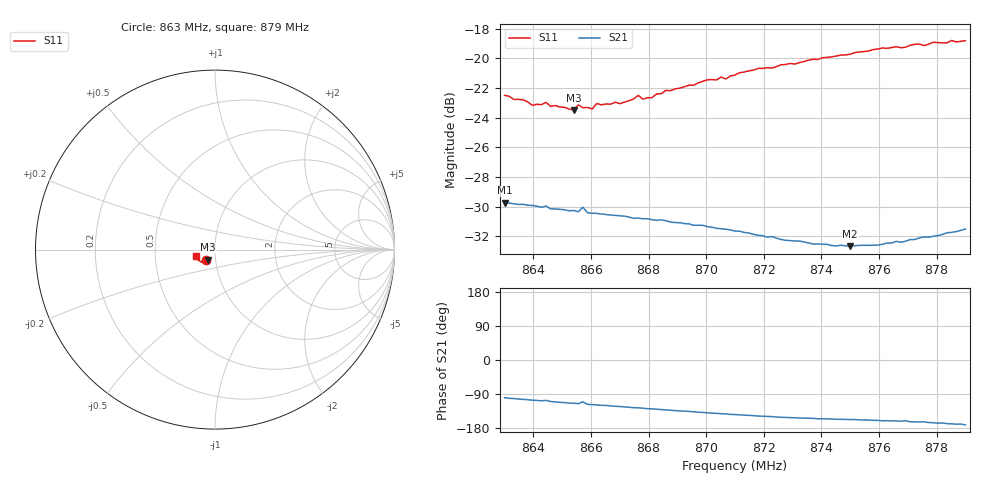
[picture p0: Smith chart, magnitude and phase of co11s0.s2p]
# HZ S RI R 50
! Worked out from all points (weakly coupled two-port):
!   101 points, 863 MHz to 879 MHz, reference 50 ohm
!   highest |S21| = -29.73 dB at 863 MHz (marker M1); lowest = -32.7 dB at 875 MHz (marker M2)
!   lowest |S11| = -23.5 dB at 865.4 MHz (marker M3), VSWR 1.14, Z = 46.1 - j5.14 ohm
!   |S11| at or under -10 dB: start of sweep to end of sweep
!   S12 and S22 are empty: the file has one direction only
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8.63e8  -0.0497 -0.0562  -0.00547 -0.0322  0 0  0 0
8.6396e8  -0.0418 -0.0554  -0.00882 -0.0307  0 0  0 0
8.6444e8  -0.044 -0.0558  -0.00904 -0.0304  0 0  0 0
8.646e8  -0.0408 -0.0554  -0.0104 -0.0293  0 0  0 0
8.654e8  -0.0375 -0.0555  -0.0125 -0.028  0 0  0 0
8.6556e8  -0.0396 -0.0573  -0.0129 -0.0275  0 0  0 0
8.6572e8  -0.0306 -0.0609  -0.0109 -0.0295  0 0  0 0
8.6588e8  -0.0371 -0.0573  -0.0137 -0.0268  0 0  0 0
8.6604e8  -0.0363 -0.0569  -0.0139 -0.0266  0 0  0 0
8.662e8  -0.0385 -0.0589  -0.0143 -0.0263  0 0  0 0
8.67e8  -0.0371 -0.0597  -0.0159 -0.0248  0 0  0 0
8.6764e8  -0.0384 -0.0644  -0.0171 -0.0234  0 0  0 0
8.678e8  -0.0373 -0.0625  -0.0174 -0.0229  0 0  0 0
8.6844e8  -0.0385 -0.0655  -0.0187 -0.0216  0 0  0 0
8.7004e8  -0.0458 -0.0711  -0.0205 -0.0177  0 0  0 0
8.7052e8  -0.0483 -0.0717  -0.0209 -0.0164  0 0  0 0
8.7068e8  -0.0472 -0.0709  -0.0209 -0.0163  0 0  0 0
8.71e8  -0.0501 -0.0721  -0.0212 -0.0154  0 0  0 0
8.7372e8  -0.0691 -0.0712  -0.0213 -0.0103  0 0  0 0
8.75e8  -0.0794 -0.0659  -0.0214 -0.00897  0 0  0 0
8.7644e8  -0.091 -0.0595  -0.0225 -0.00788  0 0  0 0
8.79e8  -0.1082 -0.0382  -0.0263 -0.00402  0 0  0 0
